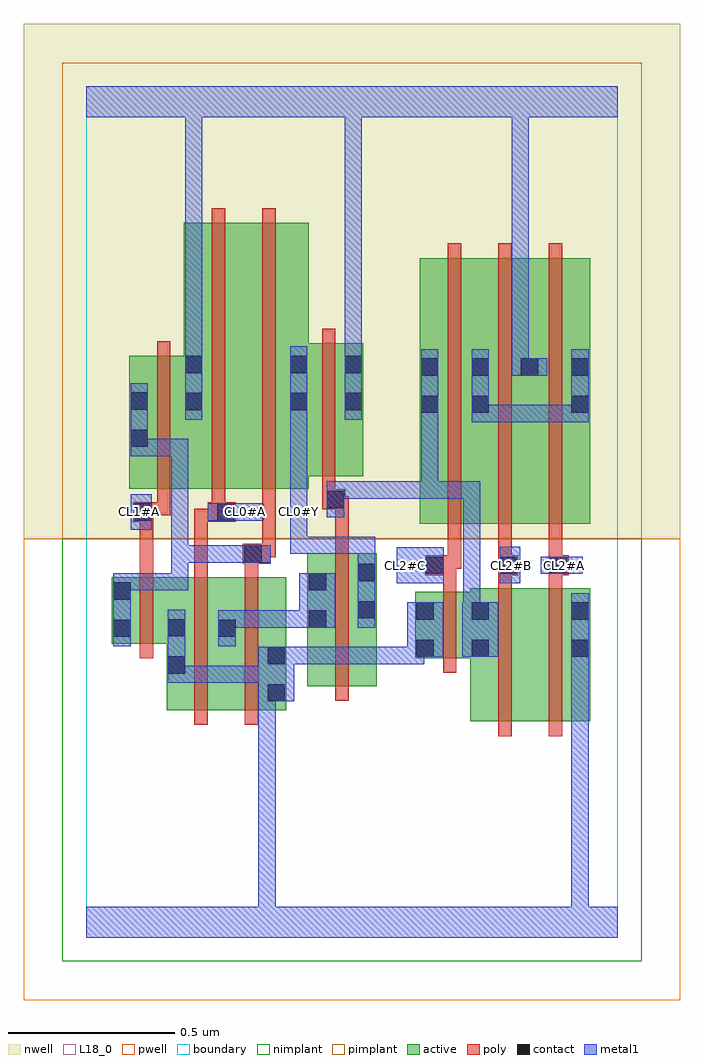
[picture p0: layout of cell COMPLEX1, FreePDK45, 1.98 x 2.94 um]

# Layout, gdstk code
import gdstk
lib = gdstk.Library(unit=1e-6, precision=1e-09)
def R(c, l, rs):  # rectangles x0, y0, x1, y1
    for r in rs: c.add(gdstk.rectangle(r[:2], r[2:], *l))
def A(c, l, x, y, w, h, nx, ny, dx, dy):  # array of equal rectangles
    R(c, l, [(x+i*dx, y+j*dy, x+i*dx+w, y+j*dy+h) for i in range(nx) for j in range(ny)])
active = (1, 0)
pwell = (2, 0)
nwell = (3, 0)
nimplant = (4, 0)
pimplant = (5, 0)
poly = (9, 0)
contact = (10, 0)
metal1 = (11, 0)
L18_0 = (18, 0)
boundary = (235, 0)

complex1 = lib.new_cell('COMPLEX1')
R(complex1, active, [(1.156,0.65,1.336,1.05), (1.336,0.65,1.516,1.05), (1.456,0.65,1.516,1.05), (0.242,0.684,0.454,1.084), (0.394,0.684,0.602,1.084), (0.394,0.684,0.454,0.96), (0.542,0.684,0.602,1.084), (0.666,0.756,0.726,1.156), (0.666,0.756,0.874,1.156), (0.814,0.756,0.874,1.156), (0.242,0.79,0.302,1.084), (0.99,0.84,1.05,1.04), (0.99,0.84,1.216,1.04), (1.156,0.84,1.216,1.04), (0.078,0.884,0.302,1.084), (0.078,0.9,0.138,1.084), (1.004,1.244,1.064,2.044), (1.004,1.244,1.216,2.044), (1.156,1.244,1.216,2.044), (1.156,1.244,1.364,2.044), (1.304,1.244,1.364,2.044), (1.304,1.244,1.516,2.044), (1.456,1.244,1.516,2.044), (0.13,1.35,0.19,1.644), (0.13,1.35,0.354,1.75), (0.294,1.35,0.474,2.15), (0.294,1.35,0.354,1.754), (0.474,1.35,0.67,2.15), (0.61,1.388,0.834,1.788), (0.61,1.388,0.67,1.754), (0.774,1.388,0.834,1.788)])
R(complex1, pwell, [(-0.188,-0.188,1.788,1.2)])
R(complex1, nwell, [(-0.188,1.2,1.788,2.748)])
R(complex1, nimplant, [(-0.072,-0.072,1.672,1.2)])
R(complex1, pimplant, [(-0.072,1.2,1.672,2.632)])
A(complex1, poly, 1.088, 1.11, 0.04, 0.13, 3, 1, 0.152, 0)
A(complex1, poly, 1.088, 1.2, 0.04, 0.888, 3, 1, 0.152, 0)
R(complex1, poly, [(1.24,0.606,1.28,1.094), (1.392,0.606,1.432,1.094), (0.326,0.64,0.366,1.128), (0.478,0.64,0.518,1.128), (0.75,0.712,0.79,1.2), (1.074,0.796,1.114,1.084), (0.162,0.84,0.202,1.128), (1.074,1.044,1.114,1.13), (1.24,1.054,1.28,1.13), (1.392,1.054,1.432,1.13), (0.162,1.088,0.202,1.29), (0.326,1.088,0.366,1.29), (0.478,1.088,0.518,1.164), (1.02,1.09,1.114,1.15), (1.24,1.09,1.3,1.15), (1.392,1.09,1.432,1.13), (1.392,1.09,1.432,1.13), (1.392,1.09,1.452,1.15), (1.074,1.11,1.114,1.15), (1.074,1.11,1.128,1.15), (1.24,1.11,1.28,1.15), (1.24,1.11,1.28,1.15), (0.472,1.124,0.556,1.184), (0.516,1.144,0.556,1.184), (0.516,1.144,0.57,1.184), (0.53,1.144,0.57,1.346), (0.75,1.16,0.79,1.328), (0.142,1.25,0.202,1.31), (0.326,1.25,0.406,1.29), (0.366,1.25,0.406,1.29), (0.366,1.25,0.45,1.31), (0.162,1.27,0.202,1.31), (0.162,1.27,0.254,1.31), (0.214,1.27,0.254,1.346), (0.378,1.27,0.418,1.346), (0.71,1.288,0.78,1.348), (0.74,1.288,0.78,1.328), (0.74,1.288,0.79,1.328), (0.214,1.306,0.254,1.794), (0.378,1.306,0.418,2.194), (0.53,1.306,0.57,2.194), (0.71,1.308,0.75,1.384), (0.71,1.344,0.75,1.832)])
R(complex1, contact, [(0.546,0.71,0.598,0.762), (0.246,0.794,0.298,0.846), (0.546,0.822,0.598,0.874), (0.994,0.844,1.046,0.896), (1.16,0.844,1.212,0.896), (1.46,0.844,1.512,0.896), (0.082,0.904,0.134,0.956), (0.398,0.904,0.45,0.956), (0.246,0.906,0.298,0.958), (0.67,0.932,0.722,0.984), (0.994,0.956,1.046,1.008), (1.16,0.956,1.212,1.008), (1.46,0.956,1.512,1.008), (0.818,0.96,0.87,1.012), (0.082,1.016,0.134,1.068), (0.67,1.044,0.722,1.096), (0.818,1.072,0.87,1.124), (1.024,1.094,1.076,1.146), (1.244,1.094,1.296,1.146), (1.396,1.094,1.448,1.146), (0.476,1.128,0.528,1.18), (0.146,1.254,0.198,1.306), (0.394,1.254,0.446,1.306), (0.724,1.292,0.776,1.344), (0.134,1.476,0.186,1.528), (1.008,1.578,1.06,1.63), (1.16,1.578,1.212,1.63), (1.46,1.578,1.512,1.63), (0.298,1.586,0.35,1.638), (0.614,1.586,0.666,1.638), (0.778,1.586,0.83,1.638), (0.134,1.588,0.186,1.64), (1.008,1.69,1.06,1.742), (1.16,1.69,1.212,1.742), (1.308,1.69,1.36,1.742), (1.46,1.69,1.512,1.742), (0.298,1.698,0.35,1.75), (0.614,1.698,0.666,1.75), (0.778,1.698,0.83,1.75)])
R(complex1, metal1, [(0,0,1.6,0.092), (0.518,0.04,0.57,0.092), (0.518,0.04,0.57,0.092), (0.518,0.04,0.57,0.092), (0.518,0.04,0.57,0.092), (0.518,0.04,0.57,0.092), (0.518,0.04,0.57,0.092), (0.518,0.04,0.57,0.092), (0.518,0.04,0.57,0.092), (0.518,0.04,0.57,0.092), (0.518,0.04,0.57,0.092), (0.518,0.04,0.57,0.092), (0.518,0.04,0.57,0.092), (0.518,0.04,0.57,0.762), (1.46,0.04,1.512,0.092), (1.46,0.04,1.512,0.092), (1.46,0.04,1.512,0.092), (1.46,0.04,1.512,0.092), (1.46,0.04,1.512,0.092), (1.46,0.04,1.512,0.092), (1.46,0.04,1.512,0.092), (1.46,0.04,1.512,0.092), (1.46,0.04,1.512,0.868), (0.518,0.71,0.626,0.874), (0.246,0.766,0.298,0.986), (0.246,0.766,0.308,0.818), (0.256,0.766,0.308,0.818), (0.256,0.766,0.46,0.818), (0.408,0.766,0.46,0.818), (0.408,0.766,0.46,0.818), (0.408,0.766,0.46,0.818), (0.408,0.766,0.57,0.818), (1.46,0.816,1.512,0.868), (1.46,0.816,1.512,0.868), (1.46,0.816,1.512,0.868), (1.46,0.816,1.512,0.868), (1.46,0.816,1.512,1.036), (0.574,0.822,0.626,0.874), (0.574,0.822,0.626,0.874), (0.574,0.822,0.776,0.874), (0.724,0.822,0.776,0.874), (0.724,0.822,0.776,0.874), (0.724,0.822,0.776,0.874), (0.724,0.822,1.018,0.874), (0.966,0.822,1.018,0.874), (0.966,0.822,1.018,0.896), (0.966,0.844,1.018,0.896), (0.966,0.844,1.018,0.896), (0.966,0.844,1.074,1.008), (1.132,0.844,1.24,1.008), (0.082,0.876,0.134,1.096), (0.398,0.876,0.45,0.984), (0.398,0.932,0.45,0.984), (0.398,0.932,0.45,0.984), (0.398,0.932,0.57,0.984), (0.518,0.932,0.57,0.984), (0.518,0.932,0.694,0.984), (0.642,0.932,0.75,1.096), (0.818,0.932,0.87,1.152), (1.134,0.956,1.186,1.008), (1.134,0.956,1.186,1.008), (1.134,0.956,1.186,1.372), (0.082,1.044,0.134,1.096), (0.082,1.044,0.134,1.096), (0.082,1.044,0.308,1.096), (0.256,1.044,0.308,1.096), (0.256,1.044,0.308,1.18), (0.934,1.066,1.076,1.174), (1.244,1.066,1.306,1.176), (1.368,1.094,1.494,1.146), (0.818,1.1,0.87,1.206), (0.256,1.128,0.308,1.18), (0.256,1.128,0.308,1.18), (0.256,1.128,0.308,1.18), (0.256,1.128,0.308,1.18), (0.256,1.128,0.308,1.18), (0.256,1.128,0.418,1.18), (0.256,1.128,0.308,1.5), (0.366,1.128,0.418,1.18), (0.366,1.128,0.5,1.18), (0.448,1.128,0.556,1.18), (0.614,1.154,0.87,1.206), (0.614,1.154,0.666,1.334), (0.818,1.154,0.87,1.206), (0.818,1.154,0.87,1.206), (0.818,1.154,0.87,1.206), (0.134,1.226,0.198,1.334), (0.366,1.254,0.534,1.306), (0.724,1.264,0.776,1.372), (0.614,1.282,0.666,1.61), (0.724,1.32,0.776,1.372), (0.724,1.32,0.776,1.372), (0.724,1.32,1.06,1.372), (1.008,1.32,1.06,1.372), (1.008,1.32,1.06,1.372), (1.008,1.32,1.06,1.372), (1.008,1.32,1.186,1.372), (1.008,1.32,1.06,1.602), (1.134,1.32,1.186,1.372), (0.134,1.448,0.186,1.5), (0.134,1.448,0.186,1.5), (0.134,1.448,0.186,1.668), (0.134,1.448,0.308,1.5), (0.256,1.448,0.308,1.5), (1.008,1.55,1.06,1.77), (1.16,1.55,1.212,1.602), (1.16,1.55,1.212,1.602), (1.16,1.55,1.212,1.77), (1.16,1.55,1.322,1.602), (1.27,1.55,1.322,1.602), (1.27,1.55,1.512,1.602), (1.46,1.55,1.512,1.602), (1.46,1.55,1.512,1.602), (1.46,1.55,1.512,1.77), (0.298,1.558,0.35,1.778), (0.614,1.558,0.666,1.61), (0.614,1.558,0.666,1.61), (0.614,1.558,0.666,1.778), (0.778,1.558,0.83,1.778), (1.28,1.69,1.332,1.742), (1.28,1.69,1.332,1.742), (1.28,1.69,1.332,1.742), (1.28,1.69,1.332,1.742), (1.28,1.69,1.332,1.742), (1.28,1.69,1.332,1.742), (1.28,1.69,1.332,2.52), (1.28,1.69,1.388,1.742), (0.298,1.726,0.35,1.778), (0.298,1.726,0.35,1.778), (0.298,1.726,0.35,2.52), (0.778,1.726,0.83,1.778), (0.778,1.726,0.83,1.778), (0.778,1.726,0.83,1.778), (0.778,1.726,0.83,1.778), (0.778,1.726,0.83,1.778), (0.778,1.726,0.83,1.778), (0.778,1.726,0.83,1.778), (0.778,1.726,0.83,1.778), (0.778,1.726,0.83,1.778), (0.778,1.726,0.83,1.778), (0.778,1.726,0.83,1.778), (0.778,1.726,0.83,1.778), (0.778,1.726,0.83,2.52), (0,2.468,1.6,2.56), (0.298,2.468,0.35,2.52), (0.298,2.468,0.35,2.52), (0.298,2.468,0.35,2.52), (0.298,2.468,0.35,2.52), (0.298,2.468,0.35,2.52), (0.298,2.468,0.35,2.52), (0.778,2.468,0.83,2.52), (0.778,2.468,0.83,2.52), (0.778,2.468,0.83,2.52), (0.778,2.468,0.83,2.52), (1.28,2.468,1.332,2.52), (1.28,2.468,1.332,2.52)])
R(complex1, L18_0, [(0,0,1.6,0.092), (0.518,0.04,0.57,0.092), (0.518,0.04,0.57,0.092), (0.518,0.04,0.57,0.092), (0.518,0.04,0.57,0.092), (0.518,0.04,0.57,0.092), (0.518,0.04,0.57,0.092), (0.518,0.04,0.57,0.092), (0.518,0.04,0.57,0.092), (0.518,0.04,0.57,0.092), (0.518,0.04,0.57,0.092), (0.518,0.04,0.57,0.092), (0.518,0.04,0.57,0.092), (0.518,0.04,0.57,0.762), (1.46,0.04,1.512,0.092), (1.46,0.04,1.512,0.092), (1.46,0.04,1.512,0.092), (1.46,0.04,1.512,0.092), (1.46,0.04,1.512,0.092), (1.46,0.04,1.512,0.092), (1.46,0.04,1.512,0.092), (1.46,0.04,1.512,0.092), (1.46,0.04,1.512,0.868), (0.518,0.71,0.626,0.874), (0.246,0.766,0.298,0.986), (0.246,0.766,0.308,0.818), (0.256,0.766,0.308,0.818), (0.256,0.766,0.46,0.818), (0.408,0.766,0.46,0.818), (0.408,0.766,0.46,0.818), (0.408,0.766,0.46,0.818), (0.408,0.766,0.57,0.818), (1.46,0.816,1.512,1.036), (1.46,0.816,1.512,0.868), (1.46,0.816,1.512,0.868), (1.46,0.816,1.512,0.868), (1.46,0.816,1.512,0.868), (0.574,0.822,0.626,0.874), (0.574,0.822,0.626,0.874), (0.574,0.822,0.776,0.874), (0.724,0.822,0.776,0.874), (0.724,0.822,0.776,0.874), (0.724,0.822,0.776,0.874), (0.724,0.822,1.018,0.874), (0.966,0.822,1.018,0.874), (0.966,0.822,1.018,0.896), (0.966,0.844,1.018,0.896), (0.966,0.844,1.018,0.896), (0.966,0.844,1.074,1.008), (0.818,0.932,0.87,1.152), (0.934,1.066,1.076,1.174), (1.244,1.066,1.306,1.176), (0.934,1.094,0.986,1.146), (1.254,1.094,1.306,1.146), (1.368,1.094,1.494,1.146), (1.414,1.094,1.466,1.146), (0.818,1.1,0.87,1.206), (0.614,1.154,0.666,1.334), (0.614,1.154,0.87,1.206), (0.818,1.154,0.87,1.206), (0.818,1.154,0.87,1.206), (0.818,1.154,0.87,1.206), (0.134,1.226,0.198,1.334), (0.134,1.254,0.186,1.306), (0.366,1.254,0.534,1.306), (0.454,1.254,0.506,1.306), (0.614,1.254,0.666,1.306), (0.614,1.282,0.666,1.61), (0.298,1.558,0.35,1.778), (0.614,1.558,0.666,1.778), (0.614,1.558,0.666,1.61), (0.614,1.558,0.666,1.61), (0.778,1.558,0.83,1.778), (1.28,1.69,1.332,1.742), (1.28,1.69,1.332,1.742), (1.28,1.69,1.332,1.742), (1.28,1.69,1.332,1.742), (1.28,1.69,1.332,1.742), (1.28,1.69,1.332,1.742), (1.28,1.69,1.388,1.742), (1.28,1.69,1.332,2.52), (0.298,1.726,0.35,1.778), (0.298,1.726,0.35,1.778), (0.298,1.726,0.35,2.52), (0.778,1.726,0.83,1.778), (0.778,1.726,0.83,1.778), (0.778,1.726,0.83,1.778), (0.778,1.726,0.83,1.778), (0.778,1.726,0.83,1.778), (0.778,1.726,0.83,1.778), (0.778,1.726,0.83,1.778), (0.778,1.726,0.83,1.778), (0.778,1.726,0.83,1.778), (0.778,1.726,0.83,1.778), (0.778,1.726,0.83,1.778), (0.778,1.726,0.83,1.778), (0.778,1.726,0.83,2.52), (0,2.468,1.6,2.56), (0.298,2.468,0.35,2.52), (0.298,2.468,0.35,2.52), (0.298,2.468,0.35,2.52), (0.298,2.468,0.35,2.52), (0.298,2.468,0.35,2.52), (0.298,2.468,0.35,2.52), (0.778,2.468,0.83,2.52), (0.778,2.468,0.83,2.52), (0.778,2.468,0.83,2.52), (0.778,2.468,0.83,2.52), (1.28,2.468,1.332,2.52), (1.28,2.468,1.332,2.52)])
R(complex1, boundary, [(0,0,1.6,2.56)])
complex1.add(gdstk.Label('CL0#A', (0.48,1.28), layer=11, texttype=0))
complex1.add(gdstk.Label('CL0#Y', (0.64,1.28), layer=11, texttype=0))
complex1.add(gdstk.Label('CL1#A', (0.16,1.28), layer=11, texttype=0))
complex1.add(gdstk.Label('CL2#A', (1.44,1.12), layer=11, texttype=0))
complex1.add(gdstk.Label('CL2#B', (1.28,1.12), layer=11, texttype=0))
complex1.add(gdstk.Label('CL2#C', (0.96,1.12), layer=11, texttype=0))

lib.write_gds('COMPLEX1.gds')
